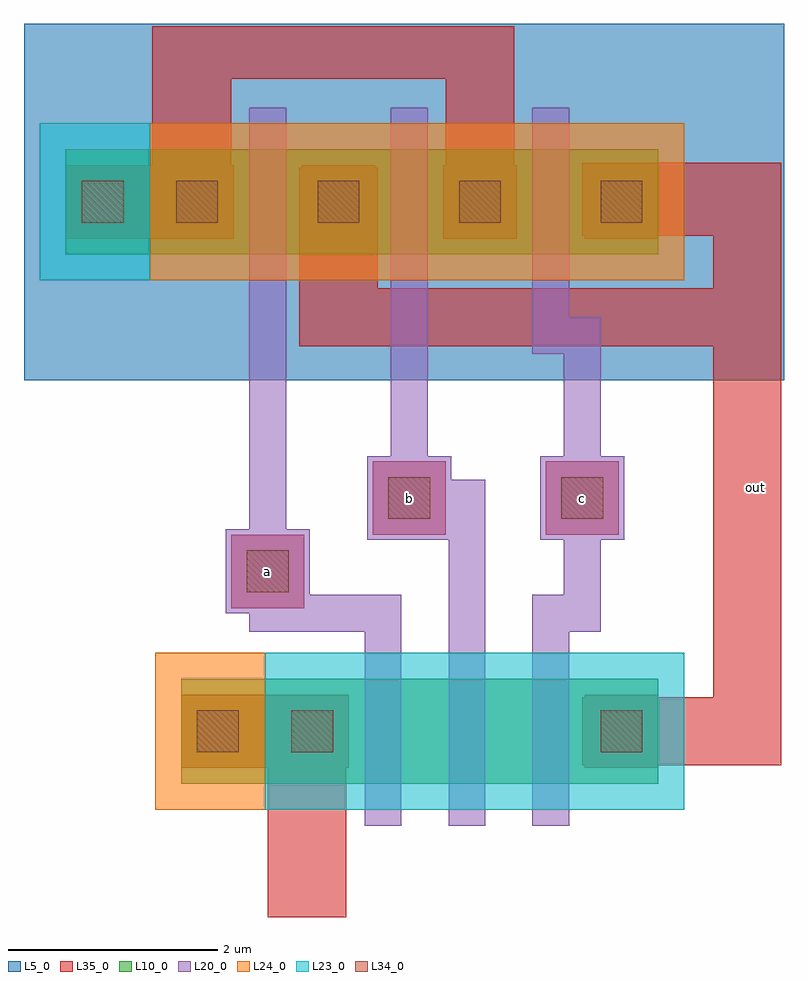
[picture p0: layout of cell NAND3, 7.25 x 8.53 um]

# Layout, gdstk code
from math import pi, radians
import gdstk
lib = gdstk.Library(unit=1e-6, precision=1e-09)
def R(c, l, rs):  # rectangles x0, y0, x1, y1
    for r in rs: c.add(gdstk.rectangle(r[:2], r[2:], *l))
L5_0 = (5, 0)
L10_0 = (10, 0)
L20_0 = (20, 0)
L23_0 = (23, 0)
L24_0 = (24, 0)
L34_0 = (34, 0)
L35_0 = (35, 0)

pmos4_cdns_708948875480 = lib.new_cell('pmos4_CDNS_708948875480')
R(pmos4_cdns_708948875480, L5_0, [(-1.2,-0.35,2.2,3.25), (-1.2,-0.35,2.2,3.25)])
R(pmos4_cdns_708948875480, L10_0, [(0,0.85,1,0.9), (0,1.15,1,1.7)])
R(pmos4_cdns_708948875480, L24_0, [(-0.25,0.6,1.25,2.3)])
R(pmos4_cdns_708948875480, L34_0, [(0.3,1.5,0.7,1.9)])
pmos4_cdns_708948875480.add(gdstk.FlexPath([(1,1.025),(1.4,1.025)], 0.35, ends="flush", simple_path=True, layer=20, datatype=0))  # L20_0
pmos4_cdns_708948875480.add(gdstk.FlexPath([(-0.4,1.025),(0,1.025)], 0.35, ends="flush", simple_path=True, layer=20, datatype=0))  # L20_0
pmos4_cdns_708948875480.add(gdstk.FlexPath([(0,1.025),(1,1.025)], 0.35, ends="flush", simple_path=True, layer=20, datatype=0))  # L20_0
pmos4_cdns_708948875480.add(gdstk.FlexPath([(0,1.7),(1,1.7)], 0.7, ends="flush", simple_path=True, layer=10, datatype=0))  # L10_0
pmos4_cdns_708948875480.add(gdstk.FlexPath([(0,1.025),(1,1.025)], 0.35, ends="flush", simple_path=True, layer=10, datatype=0))  # L10_0
pmos4_cdns_708948875480.add(gdstk.FlexPath([(0.15,1.7),(0.85,1.7)], 0.7, ends="flush", simple_path=True, layer=35, datatype=0))  # L35_0
pmos4_cdns_708948875480.add(gdstk.Label('D', (0.5,1.7), layer=61, texttype=0))

nmos4_cdns_708948875481 = lib.new_cell('nmos4_CDNS_708948875481')
R(nmos4_cdns_708948875481, L10_0, [(0,0.85,1,0.9), (0,1.15,1,1.7)])
R(nmos4_cdns_708948875481, L23_0, [(-0.25,0.6,1.25,2.3)])
R(nmos4_cdns_708948875481, L34_0, [(0.3,1.5,0.7,1.9)])
nmos4_cdns_708948875481.add(gdstk.FlexPath([(1,1.025),(1.4,1.025)], 0.35, ends="flush", simple_path=True, layer=20, datatype=0))  # L20_0
nmos4_cdns_708948875481.add(gdstk.FlexPath([(-0.4,1.025),(0,1.025)], 0.35, ends="flush", simple_path=True, layer=20, datatype=0))  # L20_0
nmos4_cdns_708948875481.add(gdstk.FlexPath([(0,1.025),(1,1.025)], 0.35, ends="flush", simple_path=True, layer=20, datatype=0))  # L20_0
nmos4_cdns_708948875481.add(gdstk.FlexPath([(0,1.7),(1,1.7)], 0.7, ends="flush", simple_path=True, layer=10, datatype=0))  # L10_0
nmos4_cdns_708948875481.add(gdstk.FlexPath([(0,1.025),(1,1.025)], 0.35, ends="flush", simple_path=True, layer=10, datatype=0))  # L10_0
nmos4_cdns_708948875481.add(gdstk.FlexPath([(0.15,1.7),(0.85,1.7)], 0.7, ends="flush", simple_path=True, layer=35, datatype=0))  # L35_0
nmos4_cdns_708948875481.add(gdstk.Label('D', (0.5,1.7), layer=61, texttype=0))

nmos4_cdns_708948875482 = lib.new_cell('nmos4_CDNS_708948875482')
R(nmos4_cdns_708948875482, L10_0, [(0,-0.2,1,0), (0,0.35,1,0.9), (0,1.15,1,1.65)])
R(nmos4_cdns_708948875482, L23_0, [(-0.25,-0.1,1.25,1.9)])
R(nmos4_cdns_708948875482, L24_0, [(-0.25,-1.15,1.25,-0.1)])
R(nmos4_cdns_708948875482, L34_0, [(0.3,-0.75,0.7,-0.35), (0.3,0.15,0.7,0.55)])
R(nmos4_cdns_708948875482, L35_0, [(0.15,-0.2,0.85,0)])
nmos4_cdns_708948875482.add(gdstk.FlexPath([(1,1.025),(1.4,1.025)], 0.35, ends="flush", simple_path=True, layer=20, datatype=0))  # L20_0
nmos4_cdns_708948875482.add(gdstk.FlexPath([(-0.4,1.025),(0,1.025)], 0.35, ends="flush", simple_path=True, layer=20, datatype=0))  # L20_0
nmos4_cdns_708948875482.add(gdstk.FlexPath([(0,1.025),(1,1.025)], 0.35, ends="flush", simple_path=True, layer=20, datatype=0))  # L20_0
nmos4_cdns_708948875482.add(gdstk.FlexPath([(0,-0.55),(1,-0.55)], 0.7, ends="flush", simple_path=True, layer=10, datatype=0))  # L10_0
nmos4_cdns_708948875482.add(gdstk.FlexPath([(0,0.35),(1,0.35)], 0.7, ends="flush", simple_path=True, layer=10, datatype=0))  # L10_0
nmos4_cdns_708948875482.add(gdstk.FlexPath([(0,1.025),(1,1.025)], 0.35, ends="flush", simple_path=True, layer=10, datatype=0))  # L10_0
nmos4_cdns_708948875482.add(gdstk.FlexPath([(0.15,-0.55),(0.85,-0.55)], 0.7, ends="flush", simple_path=True, layer=35, datatype=0))  # L35_0
nmos4_cdns_708948875482.add(gdstk.FlexPath([(0.15,0.35),(0.85,0.35)], 0.7, ends="flush", simple_path=True, layer=35, datatype=0))  # L35_0
nmos4_cdns_708948875482.add(gdstk.Label('B', (0.5,-0.55), layer=61, texttype=0))
nmos4_cdns_708948875482.add(gdstk.Label('S', (0.5,0.35), layer=61, texttype=0))

nmos4_cdns_708948875483 = lib.new_cell('nmos4_CDNS_708948875483')
R(nmos4_cdns_708948875483, L10_0, [(0,0.85,1,0.9), (0,1.15,1,1.65)])
R(nmos4_cdns_708948875483, L23_0, [(-0.25,0.6,1.25,1.9)])
nmos4_cdns_708948875483.add(gdstk.FlexPath([(1,1.025),(1.4,1.025)], 0.35, ends="flush", simple_path=True, layer=20, datatype=0))  # L20_0
nmos4_cdns_708948875483.add(gdstk.FlexPath([(-0.4,1.025),(0,1.025)], 0.35, ends="flush", simple_path=True, layer=20, datatype=0))  # L20_0
nmos4_cdns_708948875483.add(gdstk.FlexPath([(0,1.025),(1,1.025)], 0.35, ends="flush", simple_path=True, layer=20, datatype=0))  # L20_0
nmos4_cdns_708948875483.add(gdstk.FlexPath([(0,1.025),(1,1.025)], 0.35, ends="flush", simple_path=True, layer=10, datatype=0))  # L10_0

pmos4_cdns_708948875484 = lib.new_cell('pmos4_CDNS_708948875484')
R(pmos4_cdns_708948875484, L5_0, [(-1.2,-1.3,2.2,3.25), (-1.2,-1.3,2.2,3.25)])
R(pmos4_cdns_708948875484, L10_0, [(0,-0.2,1,0), (0,0.35,1,0.9), (0,1.15,1,2.2)])
R(pmos4_cdns_708948875484, L23_0, [(-0.25,-1.15,1.25,-0.1)])
R(pmos4_cdns_708948875484, L24_0, [(-0.25,-0.1,1.25,2.3)])
R(pmos4_cdns_708948875484, L34_0, [(0.3,-0.75,0.7,-0.35), (0.3,0.15,0.7,0.55), (0.3,1.5,0.7,1.9)])
R(pmos4_cdns_708948875484, L35_0, [(0.15,-0.2,0.85,0)])
pmos4_cdns_708948875484.add(gdstk.FlexPath([(1,1.025),(1.4,1.025)], 0.35, ends="flush", simple_path=True, layer=20, datatype=0))  # L20_0
pmos4_cdns_708948875484.add(gdstk.FlexPath([(-0.4,1.025),(0,1.025)], 0.35, ends="flush", simple_path=True, layer=20, datatype=0))  # L20_0
pmos4_cdns_708948875484.add(gdstk.FlexPath([(0,1.025),(1,1.025)], 0.35, ends="flush", simple_path=True, layer=20, datatype=0))  # L20_0
pmos4_cdns_708948875484.add(gdstk.FlexPath([(0,-0.55),(1,-0.55)], 0.7, ends="flush", simple_path=True, layer=10, datatype=0))  # L10_0
pmos4_cdns_708948875484.add(gdstk.FlexPath([(0,1.7),(1,1.7)], 0.7, ends="flush", simple_path=True, layer=10, datatype=0))  # L10_0
pmos4_cdns_708948875484.add(gdstk.FlexPath([(0,0.35),(1,0.35)], 0.7, ends="flush", simple_path=True, layer=10, datatype=0))  # L10_0
pmos4_cdns_708948875484.add(gdstk.FlexPath([(0,1.025),(1,1.025)], 0.35, ends="flush", simple_path=True, layer=10, datatype=0))  # L10_0
pmos4_cdns_708948875484.add(gdstk.FlexPath([(0.15,-0.55),(0.85,-0.55)], 0.7, ends="flush", simple_path=True, layer=35, datatype=0))  # L35_0
pmos4_cdns_708948875484.add(gdstk.FlexPath([(0.15,1.7),(0.85,1.7)], 0.7, ends="flush", simple_path=True, layer=35, datatype=0))  # L35_0
pmos4_cdns_708948875484.add(gdstk.FlexPath([(0.15,0.35),(0.85,0.35)], 0.7, ends="flush", simple_path=True, layer=35, datatype=0))  # L35_0
pmos4_cdns_708948875484.add(gdstk.Label('B', (0.5,-0.55), layer=61, texttype=0))
pmos4_cdns_708948875484.add(gdstk.Label('D', (0.5,1.7), layer=61, texttype=0))
pmos4_cdns_708948875484.add(gdstk.Label('S', (0.5,0.35), layer=61, texttype=0))

pmos4_cdns_708948875485 = lib.new_cell('pmos4_CDNS_708948875485')
R(pmos4_cdns_708948875485, L5_0, [(-1.2,-1.2,2.2,2.4), (-1.2,-1.2,2.2,2.4)])
R(pmos4_cdns_708948875485, L10_0, [(0,-0.15,1,0.9), (0,1.15,1,1.2)])
R(pmos4_cdns_708948875485, L24_0, [(-0.25,-0.25,1.25,1.45)])
R(pmos4_cdns_708948875485, L34_0, [(0.3,0.15,0.7,0.55)])
pmos4_cdns_708948875485.add(gdstk.FlexPath([(1,1.025),(1.4,1.025)], 0.35, ends="flush", simple_path=True, layer=20, datatype=0))  # L20_0
pmos4_cdns_708948875485.add(gdstk.FlexPath([(-0.4,1.025),(0,1.025)], 0.35, ends="flush", simple_path=True, layer=20, datatype=0))  # L20_0
pmos4_cdns_708948875485.add(gdstk.FlexPath([(0,1.025),(1,1.025)], 0.35, ends="flush", simple_path=True, layer=20, datatype=0))  # L20_0
pmos4_cdns_708948875485.add(gdstk.FlexPath([(0,0.35),(1,0.35)], 0.7, ends="flush", simple_path=True, layer=10, datatype=0))  # L10_0
pmos4_cdns_708948875485.add(gdstk.FlexPath([(0,1.025),(1,1.025)], 0.35, ends="flush", simple_path=True, layer=10, datatype=0))  # L10_0
pmos4_cdns_708948875485.add(gdstk.FlexPath([(0.15,0.35),(0.85,0.35)], 0.7, ends="flush", simple_path=True, layer=35, datatype=0))  # L35_0
pmos4_cdns_708948875485.add(gdstk.Label('S', (0.5,0.35), layer=61, texttype=0))

p1_c_cdns_708948875480 = lib.new_cell('P1_C_CDNS_708948875480')
R(p1_c_cdns_708948875480, L20_0, [(-0.4,-0.4,0.4,0.4)])
R(p1_c_cdns_708948875480, L34_0, [(-0.2,-0.2,0.2,0.2)])
R(p1_c_cdns_708948875480, L35_0, [(-0.35,-0.35,0.35,0.35)])

nand3 = lib.new_cell('NAND3')
R(nand3, L35_0, [(2.35,0,3.1,2.1), (5.35,1.45,7.25,2.1), (6.6,1.45,7.25,4.35), (6.6,4,7.25,7.2), (2.65,5.45,6.65,6), (2.65,5.75,3.4,7.15), (1.25,6.5,2,8.5), (4.05,6.5,4.7,8.5), (5.35,6.5,7.25,7.2), (1.45,8,4.7,8.5)])
nand3.add(gdstk.FlexPath([(5.05,5.55),(5.05,5.925)], 0.35, ends=(0.175, 0), simple_path=True, layer=20, datatype=0))  # L20_0
nand3.add(gdstk.FlexPath([(5.35,5.55),(5.05,5.55)], 0.35, ends="extended", simple_path=True, layer=20, datatype=0))  # L20_0
nand3.add(gdstk.FlexPath([(5.35,2.9),(5.35,5.55)], 0.35, ends="extended", simple_path=True, layer=20, datatype=0))  # L20_0
nand3.add(gdstk.FlexPath([(5.05,2.9),(5.35,2.9)], 0.35, ends="extended", simple_path=True, layer=20, datatype=0))  # L20_0
nand3.add(gdstk.FlexPath([(5.05,2.675),(5.05,2.9)], 0.35, ends=(0, 0.175), simple_path=True, layer=20, datatype=0))  # L20_0
nand3.add(gdstk.FlexPath([(4.25,4),(4.25,2.675)], 0.35, ends=(0.175, 0), simple_path=True, layer=20, datatype=0))  # L20_0
nand3.add(gdstk.FlexPath([(3.7,5.925),(3.7,4)], 0.35, ends=(0, 0.175), simple_path=True, layer=20, datatype=0))  # L20_0
nand3.add(gdstk.FlexPath([(3.7,4),(4.25,4)], 0.35, ends="extended", simple_path=True, layer=20, datatype=0))  # L20_0
nand3.add(gdstk.FlexPath([(3.45,2.9),(3.45,2.675)], 0.35, ends=(0.175, 0), simple_path=True, layer=20, datatype=0))  # L20_0
nand3.add(gdstk.FlexPath([(2.35,2.9),(3.45,2.9)], 0.35, ends="extended", simple_path=True, layer=20, datatype=0))  # L20_0
nand3.add(gdstk.FlexPath([(2.35,5.925),(2.35,2.9)], 0.35, ends=(0, 0.175), simple_path=True, layer=20, datatype=0))  # L20_0
nand3.add(gdstk.Reference(pmos4_cdns_708948875480, (4.025,7.325), rotation=3*pi/2))
nand3.add(gdstk.Reference(nmos4_cdns_708948875481, (4.025,2.275), rotation=3*pi/2))
nand3.add(gdstk.Reference(nmos4_cdns_708948875482, (2.425,2.275), rotation=3*pi/2))
nand3.add(gdstk.Reference(nmos4_cdns_708948875483, (3.225,2.275), rotation=3*pi/2))
nand3.add(gdstk.Reference(pmos4_cdns_708948875484, (1.325,7.325), rotation=3*pi/2))
nand3.add(gdstk.Reference(pmos4_cdns_708948875485, (4.725,7.325), rotation=3*pi/2, x_reflection=True))
nand3.add(gdstk.Reference(p1_c_cdns_708948875480, (5.35,4)))
nand3.add(gdstk.Reference(p1_c_cdns_708948875480, (3.7,4)))
nand3.add(gdstk.Reference(p1_c_cdns_708948875480, (2.35,3.3)))
nand3.add(gdstk.Label('out', (7,4.1), layer=61, texttype=2))
nand3.add(gdstk.Label('c', (5.35,4), layer=61, texttype=2))
nand3.add(gdstk.Label('b', (3.7,4), layer=61, texttype=2))
nand3.add(gdstk.Label('a', (2.35,3.3), layer=61, texttype=2))

lib.write_gds('NAND3.gds')
